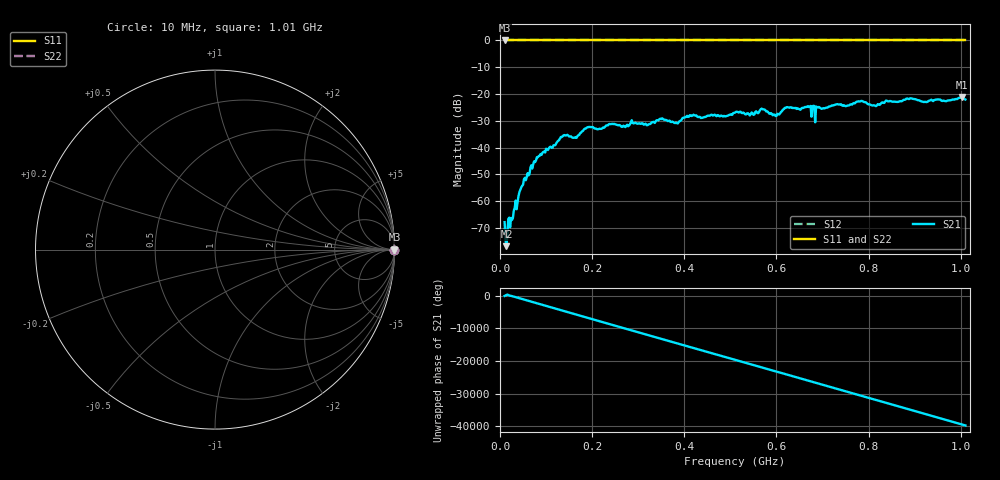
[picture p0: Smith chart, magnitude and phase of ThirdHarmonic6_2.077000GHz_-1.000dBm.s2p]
! 8/17/2025 12:52:34 AM
! C:\ANRITSUVNA\TEMP\TEMP.S2P
! CHANNEL.1
! TR.MEASUREMENT
! RAW.DATA
! RF.CORRECTION.OFF
! AVERAGING.OFF
! IF.BANDWIDTH: 5KHZ
! SWEEPTYPE:  FREQ.SWEEP(Linear)
! Reference Plane Port Info
! PORT:  PORT1  PORT2
! DISTANCE:  0  m  0  m
! TIME:  0  s  0  s
! PHASE.OFFSET:  0  deg.  0  deg.
! LOSS:  0  dB  0  dB
! REF.LOSS:  0  dB  0  dB
! REF.FREQ:  0  Hz  0  Hz
! Power Info
! POWER:  -20  dBm  -20  dBm
! EFF.POWER:  -20  dBm  -20  dBm
! SOURCE.ATTEN:  0  dB  0  dB
! TEST.ATTEN:  0  dB  0  dB
# GHZ S RI R 50.0
! FREQ.GHZ  S11RE  S11IM  S21RE  S21IM  S12RE  S12IM  S22RE  S22IM
!; PortSelection: Port_12
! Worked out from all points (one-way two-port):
!   501 points, 10 MHz to 1.01 GHz, reference 50 ohm
!   highest |S21| = -21.08 dB at 1.002 GHz (marker M1); lowest = -76.7 dB at 14 MHz (marker M2)
!   lowest |S11| = 0.0 dB at 10 MHz (marker M3)
!   |S11| at or under -10 dB: nowhere
!   |S22| runs from 0.0 to 0.0 dB; largest |S21 - S12| = 1.1
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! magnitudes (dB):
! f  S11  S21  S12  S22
! 10 MHz  0.0  -67.8  0.0  0.0
! 14 MHz  0.0  -76.7  0.0  0.0
! 50 MHz  0.0  -53.8  0.0  0.0
! 78 MHz  0.0  -44.8  0.0  0.0
! 136 MHz  0.0  -35.8  0.0  0.0
! 162 MHz  0.0  -36.2  0.0  0.0
! 178 MHz  0.0  -33.9  0.0  0.0
! 344 MHz  0.0  -29.7  0.0  0.0
! 382 MHz  0.0  -30.7  0.0  0.0
! 416 MHz  0.0  -28.2  0.0  0.0
! 510 MHz  0.0  -26.9  0.0  0.0
! 546 MHz  0.0  -26.9  0.0  0.0
! 570 MHz  0.0  -25.7  0.0  0.0
! 596 MHz  0.0  -27.7  0.0  0.0
! 622 MHz  0.0  -24.9  0.0  0.0
! 678 MHz  0.0  -24.5  0.0  0.0
! 680 MHz  0.0  -24.4  0.0  0.0
! 780 MHz  0.0  -22.8  0.0  0.0
! 812 MHz  0.0  -24.2  0.0  0.0
! 844 MHz  0.0  -22.7  0.0  0.0
! 1.002 GHz  0.0  -21.1  0.0  0.0
! 1.01 GHz  0.0  -22.0  0.0  0.0
